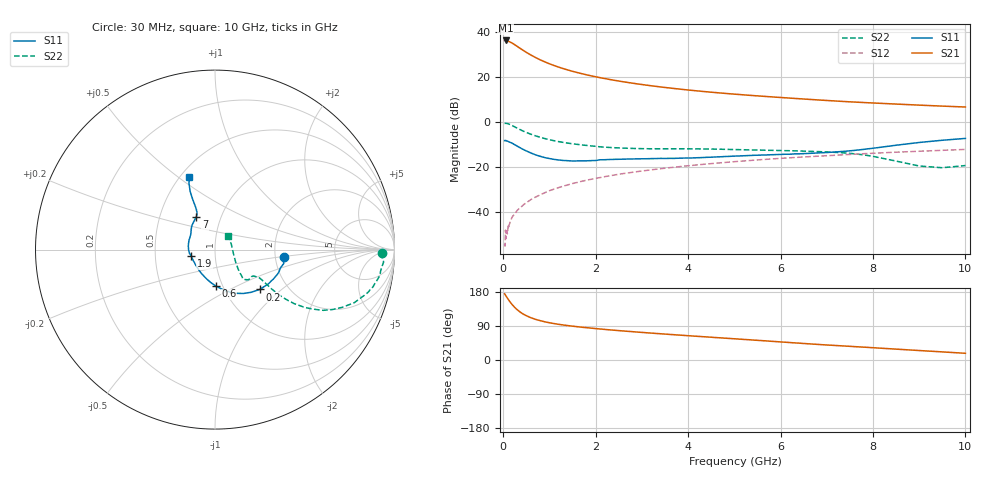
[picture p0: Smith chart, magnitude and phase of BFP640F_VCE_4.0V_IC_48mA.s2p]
! Infineon Technologies  Discrete & RF Semiconductors
! BFP640F
! VCE =  4.0 V,  IC =  48 mA
! Common Emitter S-Parameters:  Apr 2013
# GHz  S  MA  R  50
!  f  S11  S21  S12  S22
! GHz  MAG  ANG  MAG  ANG  MAG  ANG  MAG  ANG
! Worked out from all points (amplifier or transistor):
!   99 points, 30 MHz to 10 GHz, reference 50 ohm
!   highest |S21| = 36.4 dB at 50 MHz (marker M1)
!   |S21| within 3 dB of that: start of sweep to 327.9 MHz
!   unconditionally stable (mu >= 1): 1.43 GHz to end of sweep
!   at 350 MHz: K = 0.64, MSG = 35.8 dB, |S12| = -38.5 dB
!   at 3.5 GHz: K = 1.06, MAG = 16.5 dB, |S12| = -20.6 dB
!   at 10 GHz: K = 1.04, MAG = 8.3 dB, |S12| = -12.2 dB
!   S11 on the Smith chart (normalised r, x): 30 MHz: 2.23, -0.23; 200 MHz: 1.45, -0.72; 600 MHz: 0.93, -0.40; 1.9 GHz: 0.76, -0.05; 7 GHz: 0.76, +0.29; 10 GHz: 0.55, +0.55
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0.03  0.3858 -6.5  65.94 174.6  0.0019 70.5  0.9306 -1.1
0.05  0.3912 -11.4  66.27 171.0  0.0039 76.0  0.942 -4.2
0.08  0.3779 -18.2  65.34 165.2  0.0036 78.2  0.9299 -8.3
0.13  0.359 -28.9  62.34 156.2  0.0052 79.9  0.8938 -14.3
0.2  0.334 -41.6  57.23 145.3  0.0078 75.0  0.8299 -20.9
0.25  0.3121 -49.6  53.13 138.6  0.0089 73.2  0.7799 -24.3
0.3  0.2922 -56.7  49.12 132.9  0.0106 73.3  0.7339 -27.1
0.4  0.2555 -69.0  41.88 123.7  0.0131 74.9  0.6509 -30.8
0.5  0.2269 -79.0  35.99 116.9  0.0158 74.8  0.5864 -33.0
0.6  0.2039 -88.5  31.29 111.5  0.0187 74.3  0.5344 -34.3
0.8  0.1723 -104.5  24.52 103.8  0.0238 74.7  0.4577 -35.2
1  0.1534 -119.0  20 98.3  0.0294 75.3  0.4044 -35.0
1.3  0.139 -137.8  15.59 92.4  0.0372 74.0  0.3514 -34.0
1.7  0.1359 -157.5  12.02 86.5  0.0477 72.8  0.3086 -32.7
1.9  0.1379 -165.3  10.78 84.1  0.0528 71.9  0.2939 -32.5
2.5  0.1478 177.8  8.235 77.6  0.0684 68.9  0.265 -34.0
3.4  0.1547 159.2  6.089 69.3  0.0909 64.5  0.2531 -37.7
5.1  0.175 139.0  4.127 55.2  0.133 55.3  0.2425 -43.9
6.7  0.2018 123.5  3.172 42.0  0.1708 46.1  0.2212 -45.9
7  0.209 120.0  3.034 39.6  0.1776 44.5  0.2159 -45.3
8.5  0.3041 114.0  2.523 28.7  0.2127 35.9  0.1348 -31.3
10  0.4319 109.5  2.167 17.7  0.2453 27.1  0.1071 46.8
